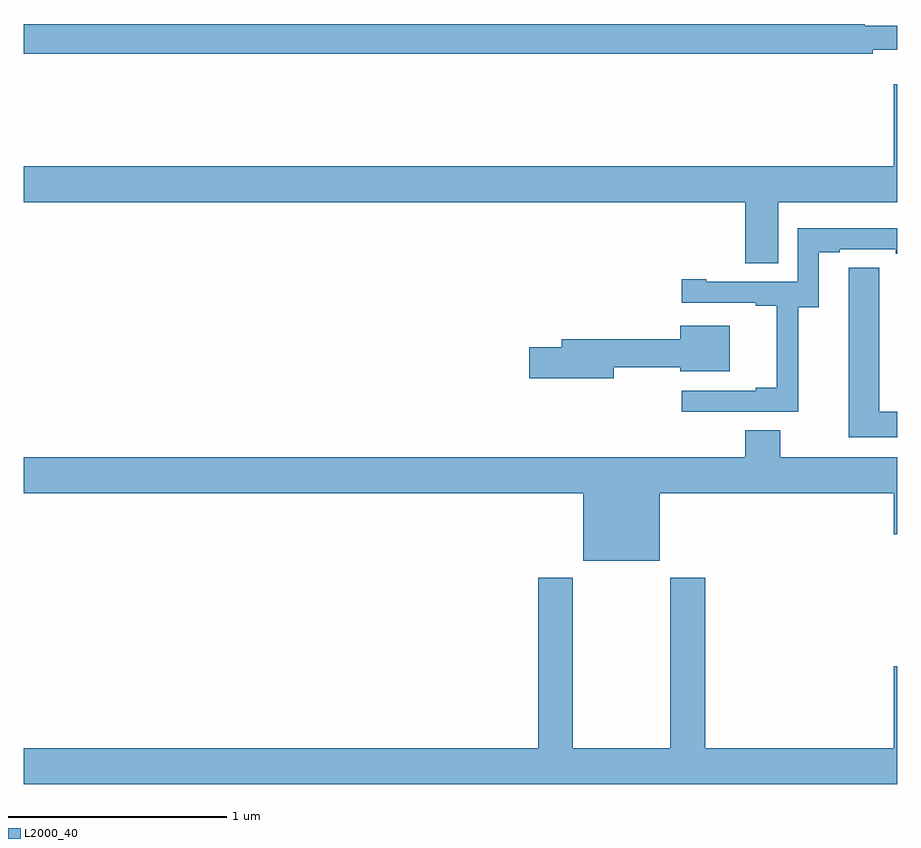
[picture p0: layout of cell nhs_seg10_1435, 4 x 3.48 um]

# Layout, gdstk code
import gdstk
lib = gdstk.Library(unit=1e-6, precision=1e-09)
def P(c, l, *ps):  # polygons
    for p in ps: c.add(gdstk.Polygon(p, *l))
L2000_40 = (2000, 40)

nhs_seg10_1435 = lib.new_cell('nhs_seg10_1435')
P(nhs_seg10_1435, L2000_40, [(188.888,1306.343),(189,1306.343),(189,1306.453),(188.851,1306.453),(188.851,1306.46),(185,1306.46),(185,1306.324),(188.888,1306.324)],
  [(188.455,1305.644),(189,1305.644),(189,1306.183),(188.984,1306.183),(188.984,1305.808),(185,1305.808),(185,1305.644),(188.303,1305.644),(188.303,1305.364),(188.455,1305.364)],
  [(188.547,1305.163),(188.641,1305.163),(188.641,1305.414),(188.737,1305.414),(188.737,1305.429),(188.993,1305.429),(188.993,1305.409),(189,1305.409),(189,1305.525),(188.544,1305.525),(188.544,1305.279),(188.125,1305.279),(188.125,1305.292),(188.013,1305.292),(188.013,1305.183),(188.351,1305.183),(188.351,1305.171),(188.447,1305.171),(188.447,1304.794),(188.351,1304.794),(188.351,1304.781),(188.013,1304.781),(188.013,1304.685),(188.547,1304.685)],
  [(189,1304.684),(188.917,1304.684),(188.917,1305.344),(188.778,1305.344),(188.778,1305.236),(188.777,1305.236),(188.777,1304.568),(189,1304.568)],
  [(187.702,1304.889),(188.006,1304.889),(188.006,1304.87),(188.233,1304.87),(188.233,1305.079),(188.006,1305.079),(188.006,1305.017),(187.463,1305.017),(187.463,1304.981),(187.314,1304.981),(187.314,1304.839),(187.702,1304.839)],
  [(187.912,1304.312),(188.984,1304.312),(188.984,1304.124),(189,1304.124),(189,1304.476),(188.463,1304.476),(188.463,1304.6),(188.303,1304.6),(188.303,1304.476),(185,1304.476),(185,1304.312),(187.562,1304.312),(187.562,1304.003),(187.912,1304.003)],
  [(189,1303.519),(188.984,1303.519),(188.984,1303.144),(188.12,1303.144),(188.12,1303.924),(187.96,1303.924),(187.96,1303.144),(187.515,1303.144),(187.515,1303.924),(187.355,1303.924),(187.355,1303.144),(185,1303.144),(185,1302.98),(189,1302.98)])

lib.write_gds('nhs_seg10_1435.gds')
